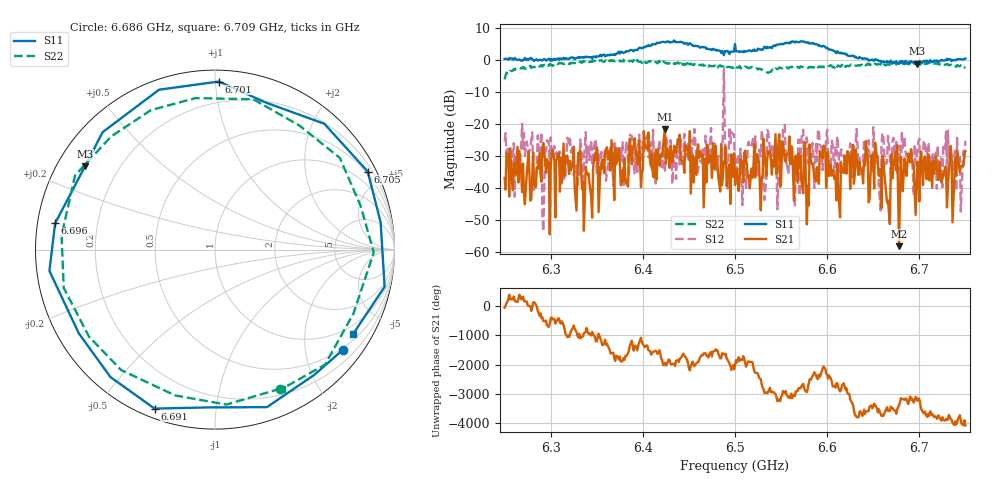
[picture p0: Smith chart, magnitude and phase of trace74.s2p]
# Hz S RI R 50
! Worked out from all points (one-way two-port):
!   401 points, 6.25 GHz to 6.75 GHz, reference 50 ohm
!   highest |S21| = -21.72 dB at 6.424 GHz (marker M1); lowest = -58.3 dB at 6.678 GHz (marker M2)
!   lowest |S11| = -1.3 dB at 6.698 GHz (marker M3), VSWR 13.31, Z = 4.08 + j14.6 ohm
!   |S11| at or under -10 dB: nowhere
!   |S22| runs from -6.2 to -0.1 dB; largest |S21 - S12| = 0.72
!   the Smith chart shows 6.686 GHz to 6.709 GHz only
!   S11 on the Smith chart (normalised r, x): 6.686 GHz: 0.46, -2.82; 6.691 GHz: 0.04, -0.69; 6.696 GHz: 0.05, +0.08; 6.701 GHz: 0.07, +1.02; 6.705 GHz: 0.41, +4.12; 6.709 GHz: 0.68, -3.43
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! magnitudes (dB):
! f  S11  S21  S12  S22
! 6.25 GHz  0.2  -37.0  -25.5  -6.2
! 6.264 GHz  -0.1  -27.2  -33.1  -2.8
! 6.288 GHz  -0.1  -29.2  -34.0  -2.2
! 6.29 GHz  -0.2  -38.1  -22.6  -1.7
! 6.334 GHz  0.8  -40.4  -29.8  -1.0
! 6.418 GHz  5.2  -32.9  -25.2  -0.4
! 6.424 GHz  5.4  -21.7  -35.3  -0.9
! 6.5 GHz  4.9  -39.2  -35.0  -2.3
! 6.584 GHz  5.1  -32.8  -26.0  -2.3
! 6.611 GHz  2.6  -32.3  -23.9  -2.2
! 6.655 GHz  -0.1  -31.7  -30.1  -1.4
! 6.668 GHz  -0.9  -51.4  -29.1  -1.6
! 6.678 GHz  -1.1  -58.3  -32.6  -1.4
! 6.686 GHz  -0.9  -36.4  -30.2  -1.4
! 6.691 GHz  -0.5  -28.1  -28.0  -1.4
! 6.696 GHz  -0.9  -48.5  -32.5  -1.4
! 6.698 GHz  -1.3  -31.9  -28.1  -1.4
! 6.701 GHz  -0.6  -31.4  -35.0  -1.6
! 6.705 GHz  -0.4  -31.6  -25.3  -1.1
! 6.709 GHz  -0.9  -32.6  -26.1  -1.3
! 6.745 GHz  0.1  -33.4  -47.4  -1.7
! 6.75 GHz  0.3  -28.7  -25.3  -2.3
